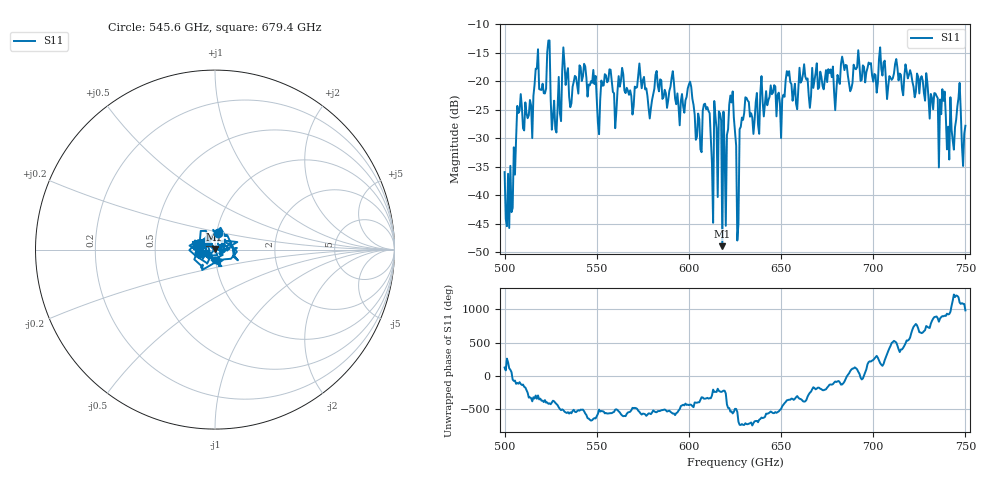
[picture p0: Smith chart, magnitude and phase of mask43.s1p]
!Created with skrf (http://scikit-rf.org).
# GHz S MA R 50.0
!freq magS11 angS11
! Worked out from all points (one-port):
!   401 points, 500 GHz to 750 GHz, reference 50 ohm
!   lowest |S11| = -49.0 dB at 618.1 GHz (marker M1), VSWR 1.01, Z = 49.8 + j0.28 ohm
!   |S11| at or under -10 dB: start of sweep to end of sweep
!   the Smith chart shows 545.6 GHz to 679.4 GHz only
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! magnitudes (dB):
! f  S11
! 500 GHz  -36.0
! 503.8 GHz  -43.0
! 508.1 GHz  -25.2
! 513.8 GHz  -23.3
! 516.9 GHz  -17.8
! 523.8 GHz  -12.9
! 526.9 GHz  -23.4
! 531.2 GHz  -18.2
! 542.5 GHz  -19.2
! 551.2 GHz  -29.3
! 562.5 GHz  -21.0
! 593.8 GHz  -22.2
! 600.6 GHz  -20.1
! 605.6 GHz  -26.7
! 609.4 GHz  -24.9
! 611.9 GHz  -29.9
! 618.1 GHz  -49.0
! 619.4 GHz  -31.9
! 623.1 GHz  -23.7
! 625 GHz  -29.0
! 626.9 GHz  -45.0
! 631.2 GHz  -22.9
! 656.2 GHz  -23.4
! 687.5 GHz  -21.8
! 718.8 GHz  -19.5
! 742.5 GHz  -28.5
! 746.2 GHz  -23.0
! 750 GHz  -27.8
